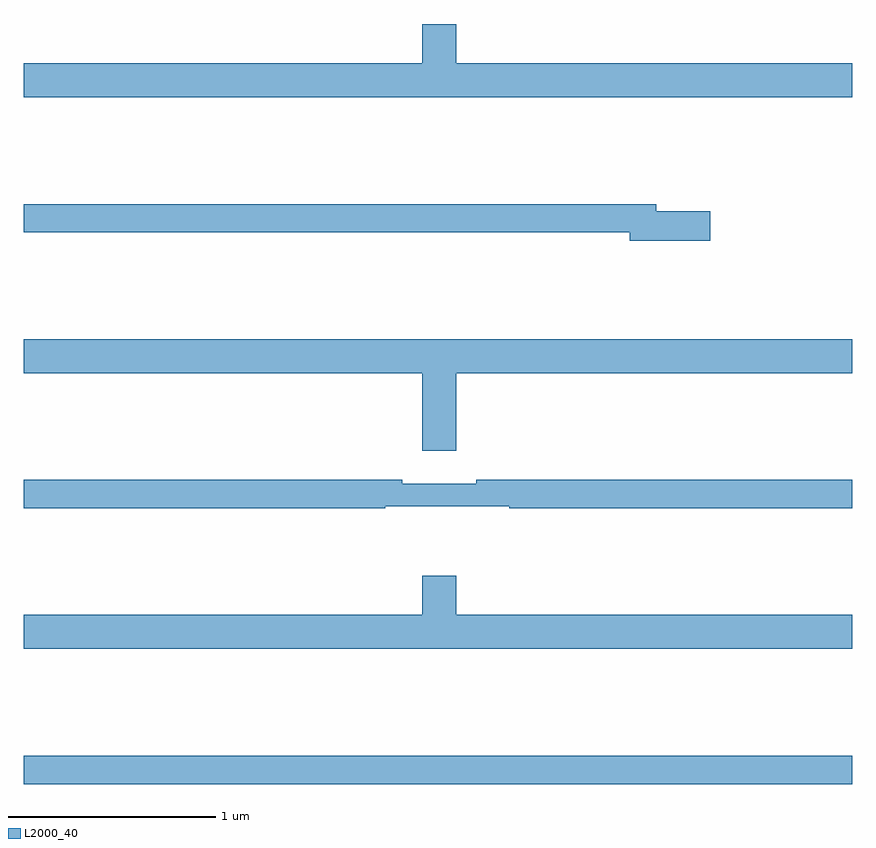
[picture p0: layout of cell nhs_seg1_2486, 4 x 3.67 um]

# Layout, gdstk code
import gdstk
lib = gdstk.Library(unit=1e-6, precision=1e-09)
def R(c, l, rs):  # rectangles x0, y0, x1, y1
    for r in rs: c.add(gdstk.rectangle(r[:2], r[2:], *l))
def P(c, l, *ps):  # polygons
    for p in ps: c.add(gdstk.Polygon(p, *l))
L2000_40 = (2000, 40)

nhs_seg1_2486 = lib.new_cell('nhs_seg1_2486')
R(nhs_seg1_2486, L2000_40, [(247,504.46,251,504.596)])
P(nhs_seg1_2486, L2000_40, [(251,507.94),(249.088,507.94),(249.088,508.129),(248.924,508.129),(248.924,507.94),(247,507.94),(247,507.776),(251,507.776)],
  [(250.315,507.224),(250.054,507.224),(250.054,507.26),(247,507.26),(247,507.124),(249.926,507.124),(249.926,507.082),(250.315,507.082)],
  [(249.088,506.444),(251,506.444),(251,506.608),(247,506.608),(247,506.444),(248.924,506.444),(248.924,506.07),(249.088,506.07)],
  [(248.745,505.8),(249.345,505.8),(249.345,505.792),(251,505.792),(251,505.928),(249.184,505.928),(249.184,505.909),(248.828,505.909),(248.828,505.928),(247,505.928),(247,505.792),(248.745,505.792)],
  [(251,505.276),(249.088,505.276),(249.088,505.465),(248.924,505.465),(248.924,505.276),(247,505.276),(247,505.112),(251,505.112)])

lib.write_gds('nhs_seg1_2486.gds')
